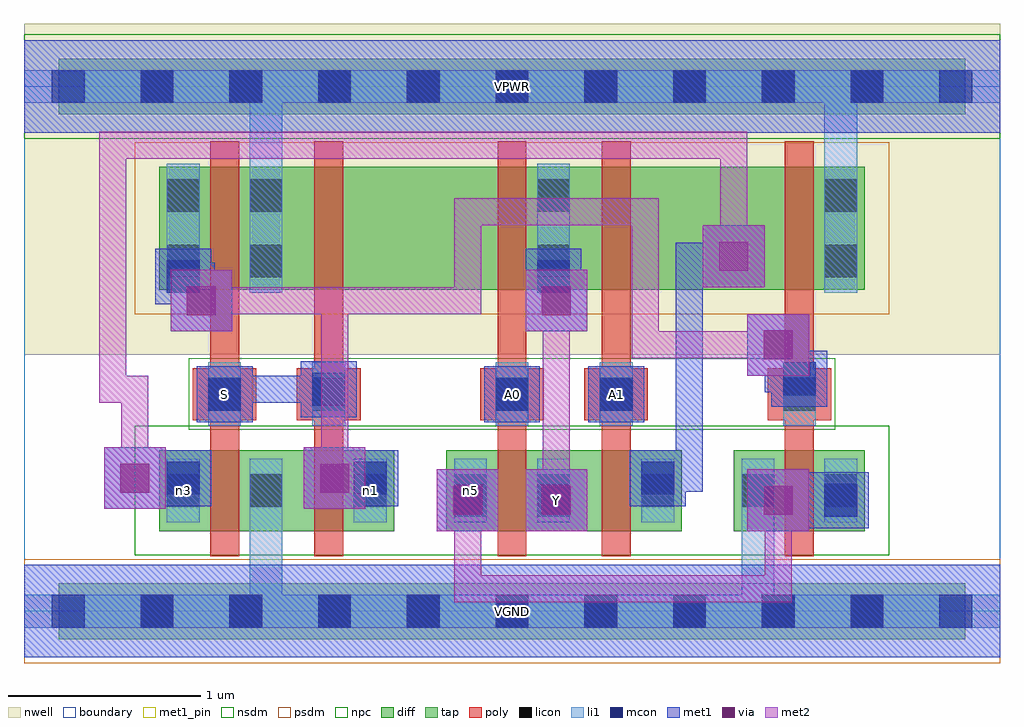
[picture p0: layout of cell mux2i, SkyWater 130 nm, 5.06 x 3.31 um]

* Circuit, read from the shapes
.subckt mux2i A0 A1 S VGND VPWR Y n1 n3 n5
XM1 VGND S n3 VGND sky130_fd_pr__nfet_01v8 w=0.42 l=0.15
XM2 n1 S VGND VGND sky130_fd_pr__nfet_01v8 w=0.42 l=0.15
XM3 Y A0 n5 VGND sky130_fd_pr__nfet_01v8 w=0.42 l=0.15
XM4 n3 A1 Y VGND sky130_fd_pr__nfet_01v8 w=0.42 l=0.15
XM5 n5 n1 VGND VGND sky130_fd_pr__nfet_01v8 w=0.42 l=0.15
XM6 VPWR S n1 VPWR sky130_fd_pr__pfet_01v8 w=0.64 l=0.15
XM7 n2 S VPWR VPWR sky130_fd_pr__pfet_01v8 w=0.64 l=0.15
XM8 Y A0 n2 VPWR sky130_fd_pr__pfet_01v8 w=0.64 l=0.15
XM9 n4 A1 Y VPWR sky130_fd_pr__pfet_01v8 w=0.64 l=0.15
XM10 VPWR n1 n4 VPWR sky130_fd_pr__pfet_01v8 w=0.64 l=0.15
.ends

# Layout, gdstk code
import gdstk
lib = gdstk.Library(unit=1e-6, precision=1e-09)
def R(c, l, rs):  # rectangles x0, y0, x1, y1
    for r in rs: c.add(gdstk.rectangle(r[:2], r[2:], *l))
def A(c, l, x, y, w, h, nx, ny, dx, dy):  # array of equal rectangles
    R(c, l, [(x+i*dx, y+j*dy, x+i*dx+w, y+j*dy+h) for i in range(nx) for j in range(ny)])
nwell = (64, 20)
diff = (65, 20)
tap = (65, 44)
poly = (66, 20)
licon = (66, 44)
li1 = (67, 20)
mcon = (67, 44)
met1_pin = (68, 16)
met1 = (68, 20)
via = (68, 44)
met2 = (69, 20)
nsdm = (93, 44)
psdm = (94, 20)
npc = (95, 20)
boundary = (235, 4)

mux2i = lib.new_cell('mux2i')
R(mux2i, nwell, [(0,1.33,5.06,3.045)])
R(mux2i, diff, [(0.7,0.415,1.92,0.835), (2.19,0.415,3.41,0.835), (3.68,0.415,4.36,0.835), (0.7,1.665,4.36,2.305)])
R(mux2i, tap, [(0.18,-0.145,4.88,0.145), (0.18,2.575,4.88,2.865)])
R(mux2i, poly, [(0.965,0.285,1.115,2.435), (1.505,0.285,1.655,2.435), (2.455,0.285,2.605,2.435), (2.995,0.285,3.145,2.435), (3.945,0.285,4.095,2.435), (0.875,0.99,1.205,1.26), (1.415,0.99,1.745,1.26), (2.365,0.99,2.695,1.26), (2.905,0.99,3.235,1.26), (3.855,0.99,4.185,1.26)])
A(mux2i, licon, 0.605, -0.085, 0.17, 0.17, 9, 2, 0.46, 2.72)
A(mux2i, licon, 1.17, 1.73, 0.17, 0.17, 3, 2, 1.49, 0.34)
R(mux2i, licon, [(0.74,0.54,0.91,0.71), (1.17,0.54,1.34,0.71), (1.71,0.54,1.88,0.71), (2.23,0.54,2.4,0.71), (2.66,0.54,2.83,0.71), (3.2,0.54,3.37,0.71), (3.72,0.54,3.89,0.71), (4.15,0.54,4.32,0.71), (0.955,1.04,1.125,1.21), (1.495,1.04,1.665,1.21), (2.445,1.04,2.615,1.21), (2.985,1.04,3.155,1.21), (3.935,1.04,4.105,1.21), (0.74,1.73,0.91,1.9), (0.74,2.07,0.91,2.24)])
A(mux2i, li1, 1.17, 1.65, 0.17, 0.67, 3, 1, 1.49, 0)
R(mux2i, li1, [(0,-0.085,5.06,0.085), (1.17,-0.085,1.34,0.79), (3.72,-0.085,3.89,0.79), (0.74,0.46,0.91,0.79), (1.17,0.46,1.34,0.79), (1.71,0.46,1.88,0.79), (2.23,0.46,2.4,0.79), (2.66,0.46,2.83,0.79), (3.2,0.46,3.37,0.79), (3.72,0.46,3.89,0.79), (4.15,0.46,4.32,0.79), (0.955,0.96,1.125,1.29), (1.495,0.96,1.665,1.29), (2.445,0.96,2.615,1.29), (2.985,0.96,3.155,1.29), (3.935,0.96,4.105,1.29), (0.74,1.65,0.91,2.32), (1.17,1.65,1.34,2.805), (4.15,1.65,4.32,2.805), (0,2.635,5.06,2.805)])
A(mux2i, mcon, 0.145, -0.085, 0.17, 0.17, 11, 2, 0.46, 2.72)
R(mux2i, mcon, [(2.23,0.49,2.4,0.66), (2.66,0.49,2.83,0.66), (4.15,0.49,4.32,0.66), (0.74,0.605,0.91,0.775), (1.71,0.605,1.88,0.775), (3.2,0.605,3.37,0.775), (0.955,1.04,1.125,1.21), (2.445,1.04,2.615,1.21), (2.985,1.04,3.155,1.21), (1.495,1.065,1.665,1.235), (3.935,1.12,4.105,1.29), (0.74,1.65,0.91,1.82), (2.66,1.65,2.83,1.82)])
R(mux2i, met1_pin, [(0,-0.24,5.06,0.24), (2.6,0.415,2.92,0.735), (0.895,0.98,1.185,1.27), (2.385,0.98,2.675,1.27), (2.925,0.98,3.215,1.27), (0,2.48,5.06,2.96)])
R(mux2i, met1, [(0,-0.24,5.06,0.24), (2.14,0.415,2.46,0.735), (2.6,0.415,2.92,0.735), (3.75,0.415,4.07,0.735), (2.17,0.43,2.46,0.72), (2.6,0.43,2.89,0.72), (4.07,0.43,4.09,0.72), (4.09,0.43,4.38,0.72), (2.23,0.505,2.385,0.645), (2.675,0.505,2.83,0.645), (3.84,0.505,4.21,0.645), (4.07,0.505,4.305,0.645), (0.415,0.53,0.735,0.85), (1.45,0.53,1.77,0.85), (0.68,0.545,0.97,0.835), (1.65,0.545,1.94,0.835), (3.14,0.545,3.43,0.835), (0.505,0.62,0.76,0.76), (0.62,0.62,0.895,0.76), (1.54,0.62,1.865,0.76), (3.215,0.62,3.52,0.76), (3.38,0.62,3.52,1.91), (0.895,0.98,1.185,1.27), (2.385,0.98,2.675,1.27), (2.925,0.98,3.215,1.27), (1.435,1.005,1.725,1.295), (3.875,1.06,4.165,1.35), (0.965,1.08,1.105,1.22), (0.965,1.08,1.45,1.22), (1.31,1.08,1.65,1.22), (3.84,1.135,4.09,1.275), (3.84,1.135,3.98,1.45), (3.75,1.22,4.07,1.54), (0.76,1.45,1.08,1.77), (2.6,1.45,2.92,1.77), (0.85,1.54,0.99,1.805), (2.69,1.54,2.83,1.805), (0.68,1.59,0.97,1.88), (2.6,1.59,2.89,1.88), (0.755,1.665,0.99,1.805), (2.675,1.665,2.83,1.805), (3.52,1.68,3.84,2), (3.38,1.77,3.75,1.91), (0,2.48,5.06,2.96)])
R(mux2i, via, [(2.225,0.5,2.375,0.65), (2.685,0.5,2.835,0.65), (3.835,0.5,3.985,0.65), (0.5,0.615,0.65,0.765), (1.535,0.615,1.685,0.765), (3.835,1.305,3.985,1.455), (0.845,1.535,0.995,1.685), (2.685,1.535,2.835,1.685), (3.605,1.765,3.755,1.915)])
R(mux2i, met2, [(2.23,0.045,2.37,0.645), (2.23,0.045,3.98,0.185), (3.84,0.045,3.98,0.645), (2.14,0.415,2.46,0.735), (2.6,0.415,2.92,0.735), (3.75,0.415,4.07,0.735), (2.69,0.505,2.83,1.68), (0.415,0.53,0.735,0.85), (1.45,0.53,1.77,0.85), (0.505,0.62,0.645,1.22), (1.54,0.62,1.68,1.68), (0.39,1.08,0.645,1.22), (0.39,1.08,0.53,2.485), (3.75,1.22,4.07,1.54), (3.15,1.31,3.98,1.45), (3.15,1.31,3.29,2.14), (0.76,1.45,1.08,1.77), (2.6,1.45,2.92,1.77), (0.85,1.54,1.68,1.68), (1.54,1.54,2.37,1.68), (2.23,1.54,2.37,2.14), (3.52,1.68,3.84,2), (3.61,1.77,3.75,2.485), (2.23,2,3.29,2.14), (0.39,2.345,3.75,2.485)])
R(mux2i, nsdm, [(0.575,0.29,4.485,0.96), (0,2.45,5.06,2.99)])
R(mux2i, psdm, [(0,-0.27,5.06,0.27), (0.575,1.54,4.485,2.43)])
R(mux2i, npc, [(0.855,0.94,4.205,1.31)])
R(mux2i, boundary, [(0,0,5.06,2.72)])
mux2i.add(gdstk.Label('n3', (0.825,0.625), layer=67, texttype=5))
mux2i.add(gdstk.Label('n1', (1.795,0.625), layer=67, texttype=5))
mux2i.add(gdstk.Label('n5', (2.315,0.625), layer=67, texttype=5))
mux2i.add(gdstk.Label('A0', (2.53,1.125), layer=68, texttype=5))
mux2i.add(gdstk.Label('A1', (3.07,1.125), layer=68, texttype=5))
mux2i.add(gdstk.Label('S', (1.04,1.125), layer=68, texttype=5))
mux2i.add(gdstk.Label('Y', (2.76,0.575), layer=68, texttype=5))
mux2i.add(gdstk.Label('VPWR', (2.53,2.72), layer=68, texttype=5))
mux2i.add(gdstk.Label('VGND', (2.53,0), layer=68, texttype=5))
mux2i.add(gdstk.Label('A0', (2.53,1.125), layer=68, texttype=16))
mux2i.add(gdstk.Label('A1', (3.07,1.125), layer=68, texttype=16))
mux2i.add(gdstk.Label('S', (1.04,1.125), layer=68, texttype=16))
mux2i.add(gdstk.Label('Y', (2.76,0.575), layer=68, texttype=16))
mux2i.add(gdstk.Label('VPWR', (2.53,2.72), layer=68, texttype=16))
mux2i.add(gdstk.Label('VGND', (2.53,0), layer=68, texttype=16))

lib.write_gds('mux2i.gds')
